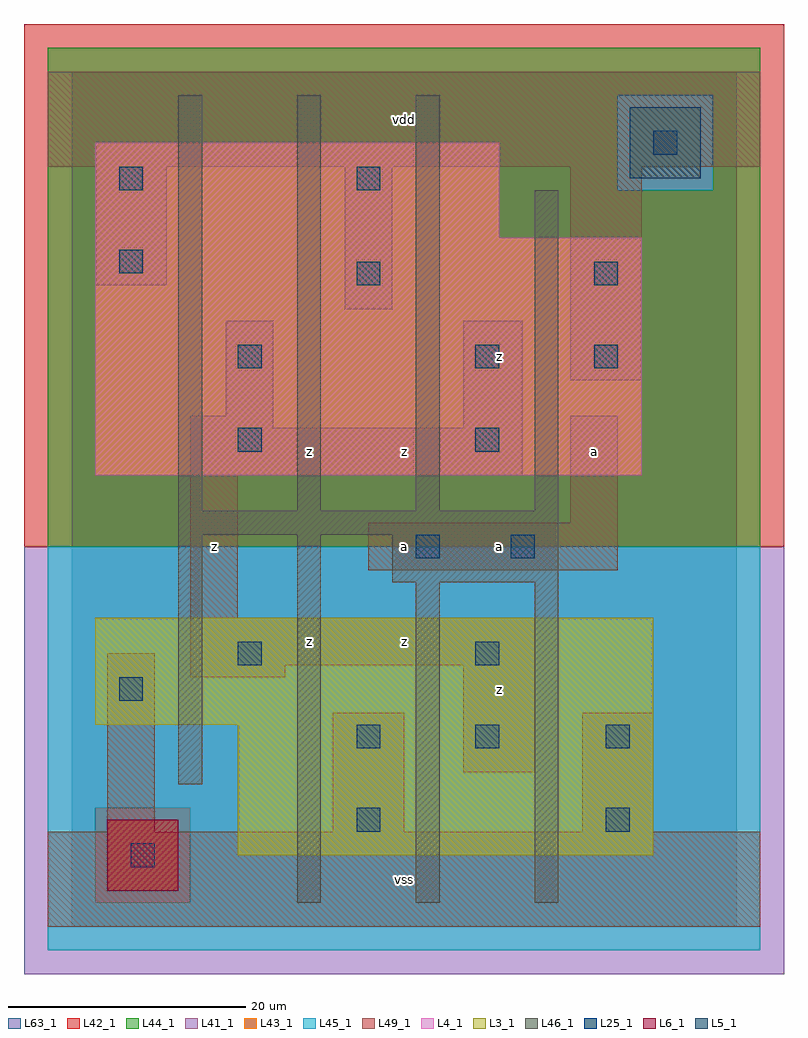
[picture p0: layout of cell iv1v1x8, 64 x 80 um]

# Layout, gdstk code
import gdstk
lib = gdstk.Library(unit=1e-6, precision=1e-09)
def R(c, l, rs):  # rectangles x0, y0, x1, y1
    for r in rs: c.add(gdstk.rectangle(r[:2], r[2:], *l))
def A(c, l, x, y, w, h, nx, ny, dx, dy):  # array of equal rectangles
    R(c, l, [(x+i*dx, y+j*dy, x+i*dx+w, y+j*dy+h) for i in range(nx) for j in range(ny)])
L3_1 = (3, 1)
L4_1 = (4, 1)
L5_1 = (5, 1)
L6_1 = (6, 1)
L25_1 = (25, 1)
L41_1 = (41, 1)
L42_1 = (42, 1)
L43_1 = (43, 1)
L44_1 = (44, 1)
L45_1 = (45, 1)
L46_1 = (46, 1)
L49_1 = (49, 1)
L63_1 = (63, 1)

iv1v1x8 = lib.new_cell('iv1v1x8')
R(iv1v1x8, L3_1, [(14,6,49,17), (2,17,49,26)])
R(iv1v1x8, L4_1, [(2,38,48,58), (2,58,36,66)])
R(iv1v1x8, L5_1, [(47,63,53,69)])
R(iv1v1x8, L6_1, [(3,3,9,9), (3,3,9,9)])
R(iv1v1x8, L25_1, [(5,5,7,7), (24,8,26,10), (45,8,47,10), (24,15,26,17), (34,15,36,17), (45,15,47,17), (4,19,6,21), (14,22,16,24), (34,22,36,24), (29,31,31,33), (37,31,39,33), (14,40,16,42), (34,40,36,42), (14,47,16,49), (34,47,36,49), (44,47,46,49), (24,54,26,56), (44,54,46,56), (4,55,6,57), (4,62,6,64), (24,62,26,64), (49,65,51,67)])
R(iv1v1x8, L41_1, [(-4,-4,60,32)])
R(iv1v1x8, L42_1, [(-4,32,60,76)])
R(iv1v1x8, L43_1, [(3,3,9,9), (14,6,49,17), (2,17,49,26), (2,38,48,58), (2,58,36,66), (47,63,53,69)])
R(iv1v1x8, L44_1, [(2,2,10,10), (-2,32,58,62), (-2,62,46,70), (54,62,58,70), (-2,70,58,74)])
R(iv1v1x8, L45_1, [(-2,-2,58,2), (-2,2,2,10), (10,2,58,10), (-2,10,58,32), (46,62,54,70)])
A(iv1v1x8, L46_1, 9, 35, 2, 35, 3, 1, 10, 0)
R(iv1v1x8, L46_1, [(19,2,21,33), (29,2,31,29), (39,2,41,29), (9,12,11,33), (27,29,41,33), (9,33,41,35), (39,35,41,62)])
R(iv1v1x8, L49_1, [(-2,0,58,8), (3,8,7,23), (22,8,28,18), (43,8,49,18), (33,13,39,22), (10,21,18,22), (10,22,39,26), (10,26,14,38), (25,30,46,34), (42,34,46,43), (10,38,38,42), (10,42,17,43), (33,42,38,51), (13,43,17,51), (42,46,48,64), (23,52,27,64), (2,54,8,64), (-2,64,58,72)])
R(iv1v1x8, L63_1, [(0,0,56,72)])
iv1v1x8.add(gdstk.Label('z', (12,32), layer=49, texttype=1))
iv1v1x8.add(gdstk.Label('z', (20,24), layer=49, texttype=1))
iv1v1x8.add(gdstk.Label('z', (20,40), layer=49, texttype=1))
iv1v1x8.add(gdstk.Label('vss', (28,4), layer=49, texttype=1))
iv1v1x8.add(gdstk.Label('z', (36,20), layer=49, texttype=1))
iv1v1x8.add(gdstk.Label('z', (28,24), layer=49, texttype=1))
iv1v1x8.add(gdstk.Label('a', (28,32), layer=49, texttype=1))
iv1v1x8.add(gdstk.Label('a', (36,32), layer=49, texttype=1))
iv1v1x8.add(gdstk.Label('z', (28,40), layer=49, texttype=1))
iv1v1x8.add(gdstk.Label('z', (36,48), layer=49, texttype=1))
iv1v1x8.add(gdstk.Label('vdd', (28,68), layer=49, texttype=1))
iv1v1x8.add(gdstk.Label('a', (44,40), layer=49, texttype=1))

lib.write_gds('iv1v1x8.gds')
